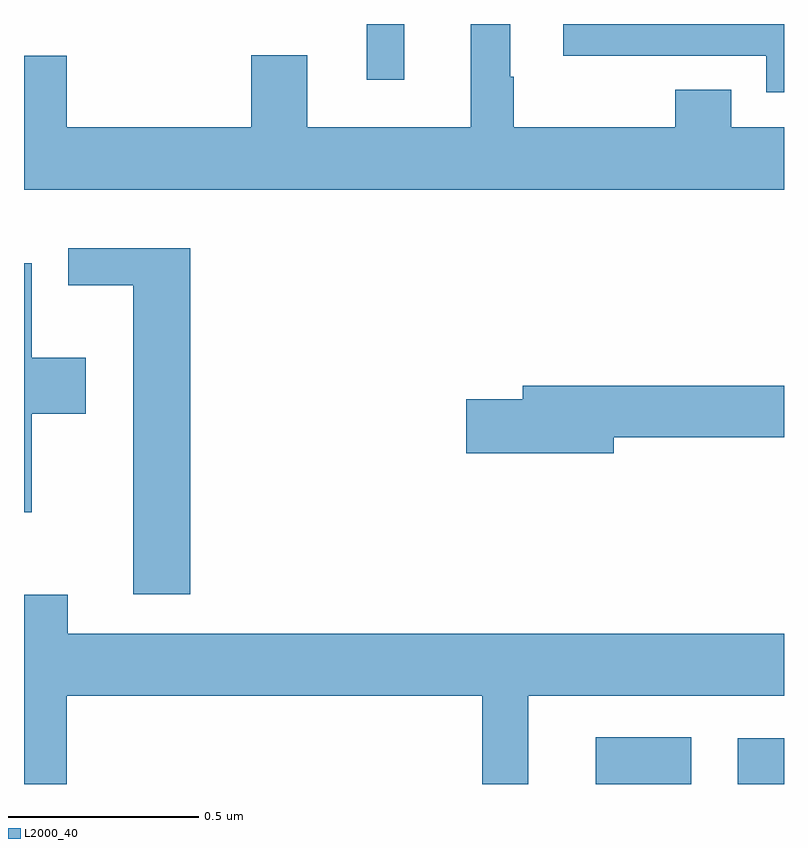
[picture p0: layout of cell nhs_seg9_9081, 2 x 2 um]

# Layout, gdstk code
import gdstk
lib = gdstk.Library(unit=1e-6, precision=1e-09)
def R(c, l, rs):  # rectangles x0, y0, x1, y1
    for r in rs: c.add(gdstk.rectangle(r[:2], r[2:], *l))
def P(c, l, *ps):  # polygons
    for p in ps: c.add(gdstk.Polygon(p, *l))
L2000_40 = (2000, 40)

nhs_seg9_9081 = lib.new_cell('nhs_seg9_9081')
R(nhs_seg9_9081, L2000_40, [(226.505,1217.5,226.756,1217.623), (226.878,1217.5,227,1217.62), (225.902,1219.353,226,1219.5)])
P(nhs_seg9_9081, L2000_40, [(227,1219.228),(226.861,1219.228),(226.861,1219.327),(226.714,1219.327),(226.714,1219.228),(226.289,1219.228),(226.289,1219.361),(226.279,1219.361),(226.279,1219.5),(226.175,1219.5),(226.175,1219.228),(225.745,1219.228),(225.745,1219.418),(225.598,1219.418),(225.598,1219.228),(225.112,1219.228),(225.112,1219.417),(225,1219.417),(225,1219.064),(227,1219.064)],
  [(227,1219.5),(226.419,1219.5),(226.419,1219.416),(226.953,1219.416),(226.953,1219.32),(227,1219.32)],
  [(225.437,1218.91),(225.117,1218.91),(225.117,1218.812),(225.287,1218.812),(225.287,1218),(225.437,1218)],
  [(225.02,1218.475),(225.163,1218.475),(225.163,1218.622),(225.02,1218.622),(225.02,1218.87),(225,1218.87),(225,1218.215),(225.02,1218.215)],
  [(226.552,1218.412),(227,1218.412),(227,1218.548),(226.313,1218.548),(226.313,1218.512),(226.164,1218.512),(226.164,1218.37),(226.552,1218.37)],
  [(225.112,1217.732),(226.206,1217.732),(226.206,1217.5),(226.327,1217.5),(226.327,1217.732),(227,1217.732),(227,1217.896),(225.115,1217.896),(225.115,1217.998),(225,1217.998),(225,1217.5),(225.112,1217.5)])

lib.write_gds('nhs_seg9_9081.gds')
